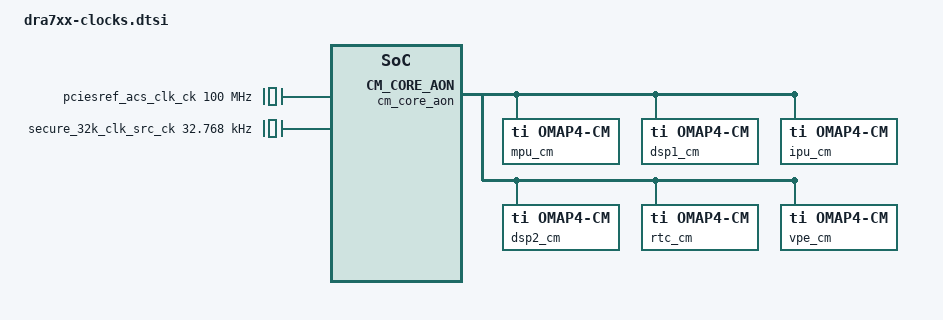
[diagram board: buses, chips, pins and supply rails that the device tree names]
// SPDX-License-Identifier: GPL-2.0-only
/*
 * Device Tree Source for DRA7xx clock data
 *
 * Copyright (C) 2013 Texas Instruments, Inc.
 */
&cm_core_aon_clocks {
	atl_clkin0_ck: clock-atl-clkin0 {
		#clock-cells = <0>;
		compatible = "ti,dra7-atl-clock";
		clock-output-names = "atl_clkin0_ck";
		clocks = <&atl_clkctrl DRA7_ATL_ATL_CLKCTRL 26>;
	};

	atl_clkin1_ck: clock-atl-clkin1 {
		#clock-cells = <0>;
		compatible = "ti,dra7-atl-clock";
		clock-output-names = "atl_clkin1_ck";
		clocks = <&atl_clkctrl DRA7_ATL_ATL_CLKCTRL 26>;
	};

	atl_clkin2_ck: clock-atl-clkin2 {
		#clock-cells = <0>;
		compatible = "ti,dra7-atl-clock";
		clock-output-names = "atl_clkin2_ck";
		clocks = <&atl_clkctrl DRA7_ATL_ATL_CLKCTRL 26>;
	};

	atl_clkin3_ck: clock-atl-clkin3 {
		#clock-cells = <0>;
		compatible = "ti,dra7-atl-clock";
		clock-output-names = "atl_clkin3_ck";
		clocks = <&atl_clkctrl DRA7_ATL_ATL_CLKCTRL 26>;
	};

	hdmi_clkin_ck: clock-hdmi-clkin {
		#clock-cells = <0>;
		compatible = "fixed-clock";
		clock-output-names = "hdmi_clkin_ck";
		clock-frequency = <0>;
	};

	mlb_clkin_ck: clock-mlb-clkin {
		#clock-cells = <0>;
		compatible = "fixed-clock";
		clock-output-names = "mlb_clkin_ck";
		clock-frequency = <0>;
	};

	mlbp_clkin_ck: clock-mlbp-clkin {
		#clock-cells = <0>;
		compatible = "fixed-clock";
		clock-output-names = "mlbp_clkin_ck";
		clock-frequency = <0>;
	};

	pciesref_acs_clk_ck: clock-pciesref-acs {
		#clock-cells = <0>;
		compatible = "fixed-clock";
		clock-output-names = "pciesref_acs_clk_ck";
		clock-frequency = <100000000>;
	};

	ref_clkin0_ck: clock-ref-clkin0 {
		#clock-cells = <0>;
		compatible = "fixed-clock";
		clock-output-names = "ref_clkin0_ck";
		clock-frequency = <0>;
	};

	ref_clkin1_ck: clock-ref-clkin1 {
		#clock-cells = <0>;
		compatible = "fixed-clock";
		clock-output-names = "ref_clkin1_ck";
		clock-frequency = <0>;
	};

	ref_clkin2_ck: clock-ref-clkin2 {
		#clock-cells = <0>;
		compatible = "fixed-clock";
		clock-output-names = "ref_clkin2_ck";
		clock-frequency = <0>;
	};

	ref_clkin3_ck: clock-ref-clkin3 {
		#clock-cells = <0>;
		compatible = "fixed-clock";
		clock-output-names = "ref_clkin3_ck";
		clock-frequency = <0>;
	};

	rmii_clk_ck: clock-rmii {
		#clock-cells = <0>;
		compatible = "fixed-clock";
		clock-output-names = "rmii_clk_ck";
		clock-frequency = <0>;
	};

	sdvenc_clkin_ck: clock-sdvenc-clkin {
		#clock-cells = <0>;
		compatible = "fixed-clock";
		clock-output-names = "sdvenc_clkin_ck";
		clock-frequency = <0>;
	};

	secure_32k_clk_src_ck: clock-secure-32k-clk-src {
		#clock-cells = <0>;
		compatible = "fixed-clock";
		clock-output-names = "secure_32k_clk_src_ck";
		clock-frequency = <32768>;
	};

	sys_clk32_crystal_ck: clock-sys-clk32-crystal {
		#clock-cells = <0>;
		compatible = "fixed-clock";
		clock-output-names = "sys_clk32_crystal_ck";
		clock-frequency = <32768>;
	};

	sys_clk32_pseudo_ck: clock-sys-clk32-pseudo {
		#clock-cells = <0>;
		compatible = "fixed-factor-clock";
		clock-output-names = "sys_clk32_pseudo_ck";
		clocks = <&sys_clkin1>;
		clock-mult = <1>;
		clock-div = <610>;
	};

	virt_12000000_ck: clock-virt-12000000 {
		#clock-cells = <0>;
		compatible = "fixed-clock";
		clock-output-names = "virt_12000000_ck";
		clock-frequency = <12000000>;
	};

	virt_13000000_ck: clock-virt-13000000 {
		#clock-cells = <0>;
		compatible = "fixed-clock";
		clock-output-names = "virt_13000000_ck";
		clock-frequency = <13000000>;
	};

	virt_16800000_ck: clock-virt-16800000 {
		#clock-cells = <0>;
		compatible = "fixed-clock";
		clock-output-names = "virt_16800000_ck";
		clock-frequency = <16800000>;
	};

	virt_19200000_ck: clock-virt-19200000 {
		#clock-cells = <0>;
		compatible = "fixed-clock";
		clock-output-names = "virt_19200000_ck";
		clock-frequency = <19200000>;
	};

	virt_20000000_ck: clock-virt-20000000 {
		#clock-cells = <0>;
		compatible = "fixed-clock";
		clock-output-names = "virt_20000000_ck";
		clock-frequency = <20000000>;
	};

	virt_26000000_ck: clock-virt-26000000 {
		#clock-cells = <0>;
		compatible = "fixed-clock";
		clock-output-names = "virt_26000000_ck";
		clock-frequency = <26000000>;
	};

	virt_27000000_ck: clock-virt-27000000 {
		#clock-cells = <0>;
		compatible = "fixed-clock";
		clock-output-names = "virt_27000000_ck";
		clock-frequency = <27000000>;
	};

	virt_38400000_ck: clock-virt-38400000 {
		#clock-cells = <0>;
		compatible = "fixed-clock";
		clock-output-names = "virt_38400000_ck";
		clock-frequency = <38400000>;
	};

	sys_clkin2: clock-sys-clkin2 {
		#clock-cells = <0>;
		compatible = "fixed-clock";
		clock-output-names = "sys_clkin2";
		clock-frequency = <22579200>;
	};

	usb_otg_clkin_ck: clock-usb-otg-clkin {
		#clock-cells = <0>;
		compatible = "fixed-clock";
		clock-output-names = "usb_otg_clkin_ck";
		clock-frequency = <0>;
	};

	video1_clkin_ck: clock-video1-clkin {
		#clock-cells = <0>;
		compatible = "fixed-clock";
		clock-output-names = "video1_clkin_ck";
		clock-frequency = <0>;
	};

	video1_m2_clkin_ck: clock-video1-m2-clkin {
		#clock-cells = <0>;
		compatible = "fixed-clock";
		clock-output-names = "video1_m2_clkin_ck";
		clock-frequency = <0>;
	};

	video2_clkin_ck: clock-video2-clkin {
		#clock-cells = <0>;
		compatible = "fixed-clock";
		clock-output-names = "video2_clkin_ck";
		clock-frequency = <0>;
	};

	video2_m2_clkin_ck: clock-video2-m2-clkin {
		#clock-cells = <0>;
		compatible = "fixed-clock";
		clock-output-names = "video2_m2_clkin_ck";
		clock-frequency = <0>;
	};

	dpll_abe_ck: clock@1e0 {
		#clock-cells = <0>;
		compatible = "ti,omap4-dpll-m4xen-clock";
		clock-output-names = "dpll_abe_ck";
		clocks = <&abe_dpll_clk_mux>, <&abe_dpll_bypass_clk_mux>;
		reg = <0x01e0>, <0x01e4>, <0x01ec>, <0x01e8>;
	};

	dpll_abe_x2_ck: clock-dpll-abe-x2 {
		#clock-cells = <0>;
		compatible = "ti,omap4-dpll-x2-clock";
		clock-output-names = "dpll_abe_x2_ck";
		clocks = <&dpll_abe_ck>;
	};

	dpll_abe_m2x2_ck: clock-dpll-abe-m2x2-8@1f0 {
		#clock-cells = <0>;
		compatible = "ti,divider-clock";
		clock-output-names = "dpll_abe_m2x2_ck";
		clocks = <&dpll_abe_x2_ck>;
		ti,max-div = <31>;
		ti,autoidle-shift = <8>;
		reg = <0x01f0>;
		ti,index-starts-at-one;
		ti,invert-autoidle-bit;
	};

	abe_clk: clock-abe@108 {
		#clock-cells = <0>;
		compatible = "ti,divider-clock";
		clock-output-names = "abe_clk";
		clocks = <&dpll_abe_m2x2_ck>;
		ti,max-div = <4>;
		reg = <0x0108>;
		ti,index-power-of-two;
	};

	dpll_abe_m2_ck: clock-dpll-abe-m2-8@1f0 {
		#clock-cells = <0>;
		compatible = "ti,divider-clock";
		clock-output-names = "dpll_abe_m2_ck";
		clocks = <&dpll_abe_ck>;
		ti,max-div = <31>;
		ti,autoidle-shift = <8>;
		reg = <0x01f0>;
		ti,index-starts-at-one;
		ti,invert-autoidle-bit;
	};

	dpll_abe_m3x2_ck: clock-dpll-abe-m3x2-8@1f4 {
		#clock-cells = <0>;
		compatible = "ti,divider-clock";
		clock-output-names = "dpll_abe_m3x2_ck";
		clocks = <&dpll_abe_x2_ck>;
		ti,max-div = <31>;
		ti,autoidle-shift = <8>;
		reg = <0x01f4>;
		ti,index-starts-at-one;
		ti,invert-autoidle-bit;
	};

	dpll_core_byp_mux: clock-dpll-core-byp-mux-23@12c {
		#clock-cells = <0>;
		compatible = "ti,mux-clock";
		clock-output-names = "dpll_core_byp_mux";
		clocks = <&sys_clkin1>, <&dpll_abe_m3x2_ck>;
		ti,bit-shift = <23>;
		reg = <0x012c>;
	};

	dpll_core_ck: clock@120 {
		#clock-cells = <0>;
		compatible = "ti,omap4-dpll-core-clock";
		clock-output-names = "dpll_core_ck";
		clocks = <&sys_clkin1>, <&dpll_core_byp_mux>;
		reg = <0x0120>, <0x0124>, <0x012c>, <0x0128>;
	};

	dpll_core_x2_ck: clock-dpll-core-x2 {
		#clock-cells = <0>;
		compatible = "ti,omap4-dpll-x2-clock";
		clock-output-names = "dpll_core_x2_ck";
		clocks = <&dpll_core_ck>;
	};

	dpll_core_h12x2_ck: clock-dpll-core-h12x2-8@13c {
		#clock-cells = <0>;
		compatible = "ti,divider-clock";
		clock-output-names = "dpll_core_h12x2_ck";
		clocks = <&dpll_core_x2_ck>;
		ti,max-div = <63>;
		ti,autoidle-shift = <8>;
		reg = <0x013c>;
		ti,index-starts-at-one;
		ti,invert-autoidle-bit;
	};

	mpu_dpll_hs_clk_div: clock-mpu-dpll-hs-clk-div {
		#clock-cells = <0>;
		compatible = "fixed-factor-clock";
		clock-output-names = "mpu_dpll_hs_clk_div";
		clocks = <&dpll_core_h12x2_ck>;
		clock-mult = <1>;
		clock-div = <1>;
	};

	dpll_mpu_ck: clock@160 {
		#clock-cells = <0>;
		compatible = "ti,omap5-mpu-dpll-clock";
		clock-output-names = "dpll_mpu_ck";
		clocks = <&sys_clkin1>, <&mpu_dpll_hs_clk_div>;
		reg = <0x0160>, <0x0164>, <0x016c>, <0x0168>;
	};

	dpll_mpu_m2_ck: clock-dpll-mpu-m2-8@170 {
		#clock-cells = <0>;
		compatible = "ti,divider-clock";
		clock-output-names = "dpll_mpu_m2_ck";
		clocks = <&dpll_mpu_ck>;
		ti,max-div = <31>;
		ti,autoidle-shift = <8>;
		reg = <0x0170>;
		ti,index-starts-at-one;
		ti,invert-autoidle-bit;
	};

	mpu_dclk_div: clock-mpu-dclk-div {
		#clock-cells = <0>;
		compatible = "fixed-factor-clock";
		clock-output-names = "mpu_dclk_div";
		clocks = <&dpll_mpu_m2_ck>;
		clock-mult = <1>;
		clock-div = <1>;
	};

	dsp_dpll_hs_clk_div: clock-dsp-dpll-hs-clk-div {
		#clock-cells = <0>;
		compatible = "fixed-factor-clock";
		clock-output-names = "dsp_dpll_hs_clk_div";
		clocks = <&dpll_core_h12x2_ck>;
		clock-mult = <1>;
		clock-div = <1>;
	};

	dpll_dsp_byp_mux: clock-dpll-dsp-byp-mux-23@240 {
		#clock-cells = <0>;
		compatible = "ti,mux-clock";
		clock-output-names = "dpll_dsp_byp_mux";
		clocks = <&sys_clkin1>, <&dsp_dpll_hs_clk_div>;
		ti,bit-shift = <23>;
		reg = <0x0240>;
	};

	dpll_dsp_ck: clock@234 {
		#clock-cells = <0>;
		compatible = "ti,omap4-dpll-clock";
		clock-output-names = "dpll_dsp_ck";
		clocks = <&sys_clkin1>, <&dpll_dsp_byp_mux>;
		reg = <0x0234>, <0x0238>, <0x0240>, <0x023c>;
		assigned-clocks = <&dpll_dsp_ck>;
		assigned-clock-rates = <600000000>;
	};

	dpll_dsp_m2_ck: clock-dpll-dsp-m2-8@244 {
		#clock-cells = <0>;
		compatible = "ti,divider-clock";
		clock-output-names = "dpll_dsp_m2_ck";
		clocks = <&dpll_dsp_ck>;
		ti,max-div = <31>;
		ti,autoidle-shift = <8>;
		reg = <0x0244>;
		ti,index-starts-at-one;
		ti,invert-autoidle-bit;
		assigned-clocks = <&dpll_dsp_m2_ck>;
		assigned-clock-rates = <600000000>;
	};

	iva_dpll_hs_clk_div: clock-iva-dpll-hs-clk-div {
		#clock-cells = <0>;
		compatible = "fixed-factor-clock";
		clock-output-names = "iva_dpll_hs_clk_div";
		clocks = <&dpll_core_h12x2_ck>;
		clock-mult = <1>;
		clock-div = <1>;
	};

	dpll_iva_byp_mux: clock-dpll-iva-byp-mux-23@1ac {
		#clock-cells = <0>;
		compatible = "ti,mux-clock";
		clock-output-names = "dpll_iva_byp_mux";
		clocks = <&sys_clkin1>, <&iva_dpll_hs_clk_div>;
		ti,bit-shift = <23>;
		reg = <0x01ac>;
	};

	dpll_iva_ck: clock@1a0 {
		#clock-cells = <0>;
		compatible = "ti,omap4-dpll-clock";
		clock-output-names = "dpll_iva_ck";
		clocks = <&sys_clkin1>, <&dpll_iva_byp_mux>;
		reg = <0x01a0>, <0x01a4>, <0x01ac>, <0x01a8>;
		assigned-clocks = <&dpll_iva_ck>;
		assigned-clock-rates = <1165000000>;
	};

	dpll_iva_m2_ck: clock-dpll-iva-m2-8@1b0 {
		#clock-cells = <0>;
		compatible = "ti,divider-clock";
		clock-output-names = "dpll_iva_m2_ck";
		clocks = <&dpll_iva_ck>;
		ti,max-div = <31>;
		ti,autoidle-shift = <8>;
		reg = <0x01b0>;
		ti,index-starts-at-one;
		ti,invert-autoidle-bit;
		assigned-clocks = <&dpll_iva_m2_ck>;
		assigned-clock-rates = <388333334>;
	};

	iva_dclk: clock-iva-dclk {
		#clock-cells = <0>;
		compatible = "fixed-factor-clock";
		clock-output-names = "iva_dclk";
		clocks = <&dpll_iva_m2_ck>;
		clock-mult = <1>;
		clock-div = <1>;
	};

	dpll_gpu_byp_mux: clock-dpll-gpu-byp-mux-23@2e4 {
		#clock-cells = <0>;
		compatible = "ti,mux-clock";
		clock-output-names = "dpll_gpu_byp_mux";
		clocks = <&sys_clkin1>, <&dpll_abe_m3x2_ck>;
		ti,bit-shift = <23>;
		reg = <0x02e4>;
	};

	dpll_gpu_ck: clock@2d8 {
		#clock-cells = <0>;
		compatible = "ti,omap4-dpll-clock";
		clock-output-names = "dpll_gpu_ck";
		clocks = <&sys_clkin1>, <&dpll_gpu_byp_mux>;
		reg = <0x02d8>, <0x02dc>, <0x02e4>, <0x02e0>;
		assigned-clocks = <&dpll_gpu_ck>;
		assigned-clock-rates = <1277000000>;
	};

	dpll_gpu_m2_ck: clock-dpll-gpu-m2-8@2e8 {
		#clock-cells = <0>;
		compatible = "ti,divider-clock";
		clock-output-names = "dpll_gpu_m2_ck";
		clocks = <&dpll_gpu_ck>;
		ti,max-div = <31>;
		ti,autoidle-shift = <8>;
		reg = <0x02e8>;
		ti,index-starts-at-one;
		ti,invert-autoidle-bit;
		assigned-clocks = <&dpll_gpu_m2_ck>;
		assigned-clock-rates = <425666667>;
	};

	dpll_core_m2_ck: clock-dpll-core-m2-8@130 {
		#clock-cells = <0>;
		compatible = "ti,divider-clock";
		clock-output-names = "dpll_core_m2_ck";
		clocks = <&dpll_core_ck>;
		ti,max-div = <31>;
		ti,autoidle-shift = <8>;
		reg = <0x0130>;
		ti,index-starts-at-one;
		ti,invert-autoidle-bit;
	};

	core_dpll_out_dclk_div: clock-core-dpll-out-dclk-div {
		#clock-cells = <0>;
		compatible = "fixed-factor-clock";
		clock-output-names = "core_dpll_out_dclk_div";
		clocks = <&dpll_core_m2_ck>;
		clock-mult = <1>;
		clock-div = <1>;
	};

	dpll_ddr_byp_mux: clock-dpll-ddr-byp-mux-23@21c {
		#clock-cells = <0>;
		compatible = "ti,mux-clock";
		clock-output-names = "dpll_ddr_byp_mux";
		clocks = <&sys_clkin1>, <&dpll_abe_m3x2_ck>;
		ti,bit-shift = <23>;
		reg = <0x021c>;
	};

	dpll_ddr_ck: clock@210 {
		#clock-cells = <0>;
		compatible = "ti,omap4-dpll-clock";
		clock-output-names = "dpll_ddr_ck";
		clocks = <&sys_clkin1>, <&dpll_ddr_byp_mux>;
		reg = <0x0210>, <0x0214>, <0x021c>, <0x0218>;
	};

	dpll_ddr_m2_ck: clock-dpll-ddr-m2-8@220 {
		#clock-cells = <0>;
		compatible = "ti,divider-clock";
		clock-output-names = "dpll_ddr_m2_ck";
		clocks = <&dpll_ddr_ck>;
		ti,max-div = <31>;
		ti,autoidle-shift = <8>;
		reg = <0x0220>;
		ti,index-starts-at-one;
		ti,invert-autoidle-bit;
	};

	dpll_gmac_byp_mux: clock-dpll-gmac-byp-mux-23@2b4 {
		#clock-cells = <0>;
		compatible = "ti,mux-clock";
		clock-output-names = "dpll_gmac_byp_mux";
		clocks = <&sys_clkin1>, <&dpll_abe_m3x2_ck>;
		ti,bit-shift = <23>;
		reg = <0x02b4>;
	};

	dpll_gmac_ck: clock@2a8 {
		#clock-cells = <0>;
		compatible = "ti,omap4-dpll-clock";
		clock-output-names = "dpll_gmac_ck";
		clocks = <&sys_clkin1>, <&dpll_gmac_byp_mux>;
		reg = <0x02a8>, <0x02ac>, <0x02b4>, <0x02b0>;
	};

	dpll_gmac_m2_ck: clock-dpll-gmac-m2-8@2b8 {
		#clock-cells = <0>;
		compatible = "ti,divider-clock";
		clock-output-names = "dpll_gmac_m2_ck";
		clocks = <&dpll_gmac_ck>;
		ti,max-div = <31>;
		ti,autoidle-shift = <8>;
		reg = <0x02b8>;
		ti,index-starts-at-one;
		ti,invert-autoidle-bit;
	};

	video2_dclk_div: clock-video2-dclk-div {
		#clock-cells = <0>;
		compatible = "fixed-factor-clock";
		clock-output-names = "video2_dclk_div";
		clocks = <&video2_m2_clkin_ck>;
		clock-mult = <1>;
		clock-div = <1>;
	};

	video1_dclk_div: clock-video1-dclk-div {
		#clock-cells = <0>;
		compatible = "fixed-factor-clock";
		clock-output-names = "video1_dclk_div";
		clocks = <&video1_m2_clkin_ck>;
		clock-mult = <1>;
		clock-div = <1>;
	};

	hdmi_dclk_div: clock-hdmi-dclk-div {
		#clock-cells = <0>;
		compatible = "fixed-factor-clock";
		clock-output-names = "hdmi_dclk_div";
		clocks = <&hdmi_clkin_ck>;
		clock-mult = <1>;
		clock-div = <1>;
	};

	per_dpll_hs_clk_div: clock-per-dpll-hs-clk-div {
		#clock-cells = <0>;
		compatible = "fixed-factor-clock";
		clock-output-names = "per_dpll_hs_clk_div";
		clocks = <&dpll_abe_m3x2_ck>;
		clock-mult = <1>;
		clock-div = <2>;
	};

	usb_dpll_hs_clk_div: clock-usb-dpll-hs-clk-div {
		#clock-cells = <0>;
		compatible = "fixed-factor-clock";
		clock-output-names = "usb_dpll_hs_clk_div";
		clocks = <&dpll_abe_m3x2_ck>;
		clock-mult = <1>;
		clock-div = <3>;
	};

	eve_dpll_hs_clk_div: clock-eve-dpll-hs-clk-div {
		#clock-cells = <0>;
		compatible = "fixed-factor-clock";
		clock-output-names = "eve_dpll_hs_clk_div";
		clocks = <&dpll_core_h12x2_ck>;
		clock-mult = <1>;
		clock-div = <1>;
	};

	dpll_eve_byp_mux: clock-dpll-eve-byp-mux-23@290 {
		#clock-cells = <0>;
		compatible = "ti,mux-clock";
		clock-output-names = "dpll_eve_byp_mux";
		clocks = <&sys_clkin1>, <&eve_dpll_hs_clk_div>;
		ti,bit-shift = <23>;
		reg = <0x0290>;
	};

	dpll_eve_ck: clock@284 {
		#clock-cells = <0>;
		compatible = "ti,omap4-dpll-clock";
		clock-output-names = "dpll_eve_ck";
		clocks = <&sys_clkin1>, <&dpll_eve_byp_mux>;
		reg = <0x0284>, <0x0288>, <0x0290>, <0x028c>;
	};

	dpll_eve_m2_ck: clock-dpll-eve-m2-8@294 {
		#clock-cells = <0>;
		compatible = "ti,divider-clock";
		clock-output-names = "dpll_eve_m2_ck";
		clocks = <&dpll_eve_ck>;
		ti,max-div = <31>;
		ti,autoidle-shift = <8>;
		reg = <0x0294>;
		ti,index-starts-at-one;
		ti,invert-autoidle-bit;
	};

	eve_dclk_div: clock-eve-dclk-div {
		#clock-cells = <0>;
		compatible = "fixed-factor-clock";
		clock-output-names = "eve_dclk_div";
		clocks = <&dpll_eve_m2_ck>;
		clock-mult = <1>;
		clock-div = <1>;
	};

	dpll_core_h13x2_ck: clock-dpll-core-h13x2-8@140 {
		#clock-cells = <0>;
		compatible = "ti,divider-clock";
		clock-output-names = "dpll_core_h13x2_ck";
		clocks = <&dpll_core_x2_ck>;
		ti,max-div = <63>;
		ti,autoidle-shift = <8>;
		reg = <0x0140>;
		ti,index-starts-at-one;
		ti,invert-autoidle-bit;
	};

	dpll_core_h14x2_ck: clock-dpll-core-h14x2-8@144 {
		#clock-cells = <0>;
		compatible = "ti,divider-clock";
		clock-output-names = "dpll_core_h14x2_ck";
		clocks = <&dpll_core_x2_ck>;
		ti,max-div = <63>;
		ti,autoidle-shift = <8>;
		reg = <0x0144>;
		ti,index-starts-at-one;
		ti,invert-autoidle-bit;
	};

	dpll_core_h22x2_ck: clock-dpll-core-h22x2-8@154 {
		#clock-cells = <0>;
		compatible = "ti,divider-clock";
		clock-output-names = "dpll_core_h22x2_ck";
		clocks = <&dpll_core_x2_ck>;
		ti,max-div = <63>;
		ti,autoidle-shift = <8>;
		reg = <0x0154>;
		ti,index-starts-at-one;
		ti,invert-autoidle-bit;
	};

	dpll_core_h23x2_ck: clock-dpll-core-h23x2-8@158 {
		#clock-cells = <0>;
		compatible = "ti,divider-clock";
		clock-output-names = "dpll_core_h23x2_ck";
		clocks = <&dpll_core_x2_ck>;
		ti,max-div = <63>;
		ti,autoidle-shift = <8>;
		reg = <0x0158>;
		ti,index-starts-at-one;
		ti,invert-autoidle-bit;
	};

	dpll_core_h24x2_ck: clock-dpll-core-h24x2-8@15c {
		#clock-cells = <0>;
		compatible = "ti,divider-clock";
		clock-output-names = "dpll_core_h24x2_ck";
		clocks = <&dpll_core_x2_ck>;
		ti,max-div = <63>;
		ti,autoidle-shift = <8>;
		reg = <0x015c>;
		ti,index-starts-at-one;
		ti,invert-autoidle-bit;
	};

	dpll_ddr_x2_ck: clock-dpll-ddr-x2 {
		#clock-cells = <0>;
		compatible = "ti,omap4-dpll-x2-clock";
		clock-output-names = "dpll_ddr_x2_ck";
		clocks = <&dpll_ddr_ck>;
	};

	dpll_ddr_h11x2_ck: clock-dpll-ddr-h11x2-8@228 {
		#clock-cells = <0>;
		compatible = "ti,divider-clock";
		clock-output-names = "dpll_ddr_h11x2_ck";
		clocks = <&dpll_ddr_x2_ck>;
		ti,max-div = <63>;
		ti,autoidle-shift = <8>;
		reg = <0x0228>;
		ti,index-starts-at-one;
		ti,invert-autoidle-bit;
	};

	dpll_dsp_x2_ck: clock-dpll-dsp-x2 {
		#clock-cells = <0>;
		compatible = "ti,omap4-dpll-x2-clock";
		clock-output-names = "dpll_dsp_x2_ck";
		clocks = <&dpll_dsp_ck>;
	};

	dpll_dsp_m3x2_ck: clock-dpll-dsp-m3x2-8@248 {
		#clock-cells = <0>;
		compatible = "ti,divider-clock";
		clock-output-names = "dpll_dsp_m3x2_ck";
		clocks = <&dpll_dsp_x2_ck>;
		ti,max-div = <31>;
		ti,autoidle-shift = <8>;
		reg = <0x0248>;
		ti,index-starts-at-one;
		ti,invert-autoidle-bit;
		assigned-clocks = <&dpll_dsp_m3x2_ck>;
		assigned-clock-rates = <400000000>;
	};

	dpll_gmac_x2_ck: clock-dpll-gmac-x2 {
		#clock-cells = <0>;
		compatible = "ti,omap4-dpll-x2-clock";
		clock-output-names = "dpll_gmac_x2_ck";
		clocks = <&dpll_gmac_ck>;
	};

	dpll_gmac_h11x2_ck: clock-dpll-gmac-h11x2-8@2c0 {
		#clock-cells = <0>;
		compatible = "ti,divider-clock";
		clock-output-names = "dpll_gmac_h11x2_ck";
		clocks = <&dpll_gmac_x2_ck>;
		ti,max-div = <63>;
		ti,autoidle-shift = <8>;
		reg = <0x02c0>;
		ti,index-starts-at-one;
		ti,invert-autoidle-bit;
	};

	dpll_gmac_h12x2_ck: clock-dpll-gmac-h12x2-8@2c4 {
		#clock-cells = <0>;
		compatible = "ti,divider-clock";
		clock-output-names = "dpll_gmac_h12x2_ck";
		clocks = <&dpll_gmac_x2_ck>;
		ti,max-div = <63>;
		ti,autoidle-shift = <8>;
		reg = <0x02c4>;
		ti,index-starts-at-one;
		ti,invert-autoidle-bit;
	};

	dpll_gmac_h13x2_ck: clock-dpll-gmac-h13x2-8@2c8 {
		#clock-cells = <0>;
		compatible = "ti,divider-clock";
		clock-output-names = "dpll_gmac_h13x2_ck";
		clocks = <&dpll_gmac_x2_ck>;
		ti,max-div = <63>;
		ti,autoidle-shift = <8>;
		reg = <0x02c8>;
		ti,index-starts-at-one;
		ti,invert-autoidle-bit;
	};

	dpll_gmac_m3x2_ck: clock-dpll-gmac-m3x2-8@2bc {
		#clock-cells = <0>;
		compatible = "ti,divider-clock";
		clock-output-names = "dpll_gmac_m3x2_ck";
		clocks = <&dpll_gmac_x2_ck>;
		ti,max-div = <31>;
		ti,autoidle-shift = <8>;
		reg = <0x02bc>;
		ti,index-starts-at-one;
		ti,invert-autoidle-bit;
	};

	gmii_m_clk_div: clock-gmii-m-clk-div {
		#clock-cells = <0>;
		compatible = "fixed-factor-clock";
		clock-output-names = "gmii_m_clk_div";
		clocks = <&dpll_gmac_h11x2_ck>;
		clock-mult = <1>;
		clock-div = <2>;
	};

	hdmi_clk2_div: clock-hdmi-clk2-div {
		#clock-cells = <0>;
		compatible = "fixed-factor-clock";
		clock-output-names = "hdmi_clk2_div";
		clocks = <&hdmi_clkin_ck>;
		clock-mult = <1>;
		clock-div = <1>;
	};

	hdmi_div_clk: clock-hdmi-div {
		#clock-cells = <0>;
		compatible = "fixed-factor-clock";
		clock-output-names = "hdmi_div_clk";
		clocks = <&hdmi_clkin_ck>;
		clock-mult = <1>;
		clock-div = <1>;
	};

	l3_iclk_div: clock-l3-iclk-div-4@100 {
		#clock-cells = <0>;
		compatible = "ti,divider-clock";
		clock-output-names = "l3_iclk_div";
		ti,max-div = <2>;
		ti,bit-shift = <4>;
		reg = <0x0100>;
		clocks = <&dpll_core_h12x2_ck>;
		ti,index-power-of-two;
	};

	l4_root_clk_div: clock-l4-root-clk-div {
		#clock-cells = <0>;
		compatible = "fixed-factor-clock";
		clock-output-names = "l4_root_clk_div";
		clocks = <&l3_iclk_div>;
		clock-mult = <1>;
		clock-div = <2>;
	};

	video1_clk2_div: clock-video1-clk2-div {
		#clock-cells = <0>;
		compatible = "fixed-factor-clock";
		clock-output-names = "video1_clk2_div";
		clocks = <&video1_clkin_ck>;
		clock-mult = <1>;
		clock-div = <1>;
	};

	video1_div_clk: clock-video1-div {
		#clock-cells = <0>;
		compatible = "fixed-factor-clock";
		clock-output-names = "video1_div_clk";
		clocks = <&video1_clkin_ck>;
		clock-mult = <1>;
		clock-div = <1>;
	};

	video2_clk2_div: clock-video2-clk2-div {
		#clock-cells = <0>;
		compatible = "fixed-factor-clock";
		clock-output-names = "video2_clk2_div";
		clocks = <&video2_clkin_ck>;
		clock-mult = <1>;
		clock-div = <1>;
	};

	video2_div_clk: clock-video2-div {
		#clock-cells = <0>;
		compatible = "fixed-factor-clock";
		clock-output-names = "video2_div_clk";
		clocks = <&video2_clkin_ck>;
		clock-mult = <1>;
		clock-div = <1>;
	};

	dummy_ck: clock-dummy {
		#clock-cells = <0>;
		compatible = "fixed-clock";
		clock-output-names = "dummy_ck";
		clock-frequency = <0>;
	};
};
&prm_clocks {
	sys_clkin1: clock-sys-clkin1@110 {
		#clock-cells = <0>;
		compatible = "ti,mux-clock";
		clock-output-names = "sys_clkin1";
		clocks = <&virt_12000000_ck>, <&virt_20000000_ck>, <&virt_16800000_ck>, <&virt_19200000_ck>, <&virt_26000000_ck>, <&virt_27000000_ck>, <&virt_38400000_ck>;
		reg = <0x0110>;
		ti,index-starts-at-one;
	};

	abe_dpll_sys_clk_mux: clock-abe-dpll-sys-clk-mux@118 {
		#clock-cells = <0>;
		compatible = "ti,mux-clock";
		clock-output-names = "abe_dpll_sys_clk_mux";
		clocks = <&sys_clkin1>, <&sys_clkin2>;
		reg = <0x0118>;
	};

	abe_dpll_bypass_clk_mux: clock-abe-dpll-bypass-clk-mux@114 {
		#clock-cells = <0>;
		compatible = "ti,mux-clock";
		clock-output-names = "abe_dpll_bypass_clk_mux";
		clocks = <&abe_dpll_sys_clk_mux>, <&sys_32k_ck>;
		reg = <0x0114>;
	};

	abe_dpll_clk_mux: clock-abe-dpll-clk-mux@10c {
		#clock-cells = <0>;
		compatible = "ti,mux-clock";
		clock-output-names = "abe_dpll_clk_mux";
		clocks = <&abe_dpll_sys_clk_mux>, <&sys_32k_ck>;
		reg = <0x010c>;
	};

	abe_24m_fclk: clock-abe-24m@11c {
		#clock-cells = <0>;
		compatible = "ti,divider-clock";
		clock-output-names = "abe_24m_fclk";
		clocks = <&dpll_abe_m2x2_ck>;
		reg = <0x011c>;
		ti,dividers = <8>, <16>;
	};

	aess_fclk: clock-aess@178 {
		#clock-cells = <0>;
		compatible = "ti,divider-clock";
		clock-output-names = "aess_fclk";
		clocks = <&abe_clk>;
		reg = <0x0178>;
		ti,max-div = <2>;
	};

	abe_giclk_div: clock-abe-giclk-div@174 {
		#clock-cells = <0>;
		compatible = "ti,divider-clock";
		clock-output-names = "abe_giclk_div";
		clocks = <&aess_fclk>;
		reg = <0x0174>;
		ti,max-div = <2>;
	};

	abe_lp_clk_div: clock-abe-lp-clk-div@1d8 {
		#clock-cells = <0>;
		compatible = "ti,divider-clock";
		clock-output-names = "abe_lp_clk_div";
		clocks = <&dpll_abe_m2x2_ck>;
		reg = <0x01d8>;
		ti,dividers = <16>, <32>;
	};

	abe_sys_clk_div: clock-abe-sys-clk-div@120 {
		#clock-cells = <0>;
		compatible = "ti,divider-clock";
		clock-output-names = "abe_sys_clk_div";
		clocks = <&sys_clkin1>;
		reg = <0x0120>;
		ti,max-div = <2>;
	};

	adc_gfclk_mux: clock-adc-gfclk-mux@1dc {
		#clock-cells = <0>;
		compatible = "ti,mux-clock";
		clock-output-names = "adc_gfclk_mux";
		clocks = <&sys_clkin1>, <&sys_clkin2>, <&sys_32k_ck>;
		reg = <0x01dc>;
	};

	sys_clk1_dclk_div: clock-sys-clk1-dclk-div@1c8 {
		#clock-cells = <0>;
		compatible = "ti,divider-clock";
		clock-output-names = "sys_clk1_dclk_div";
		clocks = <&sys_clkin1>;
		ti,max-div = <64>;
		reg = <0x01c8>;
		ti,index-power-of-two;
	};

	sys_clk2_dclk_div: clock-sys-clk2-dclk-div@1cc {
		#clock-cells = <0>;
		compatible = "ti,divider-clock";
		clock-output-names = "sys_clk2_dclk_div";
		clocks = <&sys_clkin2>;
		ti,max-div = <64>;
		reg = <0x01cc>;
		ti,index-power-of-two;
	};

	per_abe_x1_dclk_div: clock-per-abe-x1-dclk-div@1bc {
		#clock-cells = <0>;
		compatible = "ti,divider-clock";
		clock-output-names = "per_abe_x1_dclk_div";
		clocks = <&dpll_abe_m2_ck>;
		ti,max-div = <64>;
		reg = <0x01bc>;
		ti,index-power-of-two;
	};

	dsp_gclk_div: clock-dsp-gclk-div@18c {
		#clock-cells = <0>;
		compatible = "ti,divider-clock";
		clock-output-names = "dsp_gclk_div";
		clocks = <&dpll_dsp_m2_ck>;
		ti,max-div = <64>;
		reg = <0x018c>;
		ti,index-power-of-two;
	};

	gpu_dclk: clock-gpu-dclk@1a0 {
		#clock-cells = <0>;
		compatible = "ti,divider-clock";
		clock-output-names = "gpu_dclk";
		clocks = <&dpll_gpu_m2_ck>;
		ti,max-div = <64>;
		reg = <0x01a0>;
		ti,index-power-of-two;
	};

	emif_phy_dclk_div: clock-emif-phy-dclk-div@190 {
		#clock-cells = <0>;
		compatible = "ti,divider-clock";
		clock-output-names = "emif_phy_dclk_div";
		clocks = <&dpll_ddr_m2_ck>;
		ti,max-div = <64>;
		reg = <0x0190>;
		ti,index-power-of-two;
	};

	gmac_250m_dclk_div: clock-gmac-250m-dclk-div@19c {
		#clock-cells = <0>;
		compatible = "ti,divider-clock";
		clock-output-names = "gmac_250m_dclk_div";
		clocks = <&dpll_gmac_m2_ck>;
		ti,max-div = <64>;
		reg = <0x019c>;
		ti,index-power-of-two;
	};

	gmac_main_clk: clock-gmac-main {
		#clock-cells = <0>;
		compatible = "fixed-factor-clock";
		clock-output-names = "gmac_main_clk";
		clocks = <&gmac_250m_dclk_div>;
		clock-mult = <1>;
		clock-div = <2>;
	};

	l3init_480m_dclk_div: clock-l3init-480m-dclk-div@1ac {
		#clock-cells = <0>;
		compatible = "ti,divider-clock";
		clock-output-names = "l3init_480m_dclk_div";
		clocks = <&dpll_usb_m2_ck>;
		ti,max-div = <64>;
		reg = <0x01ac>;
		ti,index-power-of-two;
	};

	usb_otg_dclk_div: clock-usb-otg-dclk-div@184 {
		#clock-cells = <0>;
		compatible = "ti,divider-clock";
		clock-output-names = "usb_otg_dclk_div";
		clocks = <&usb_otg_clkin_ck>;
		ti,max-div = <64>;
		reg = <0x0184>;
		ti,index-power-of-two;
	};

	sata_dclk_div: clock-sata-dclk-div@1c0 {
		#clock-cells = <0>;
		compatible = "ti,divider-clock";
		clock-output-names = "sata_dclk_div";
		clocks = <&sys_clkin1>;
		ti,max-div = <64>;
		reg = <0x01c0>;
		ti,index-power-of-two;
	};

	pcie2_dclk_div: clock-pcie2-dclk-div@1b8 {
		#clock-cells = <0>;
		compatible = "ti,divider-clock";
		clock-output-names = "pcie2_dclk_div";
		clocks = <&dpll_pcie_ref_m2_ck>;
		ti,max-div = <64>;
		reg = <0x01b8>;
		ti,index-power-of-two;
	};

	pcie_dclk_div: clock-pcie-dclk-div@1b4 {
		#clock-cells = <0>;
		compatible = "ti,divider-clock";
		clock-output-names = "pcie_dclk_div";
		clocks = <&apll_pcie_m2_ck>;
		ti,max-div = <64>;
		reg = <0x01b4>;
		ti,index-power-of-two;
	};

	emu_dclk_div: clock-emu-dclk-div@194 {
		#clock-cells = <0>;
		compatible = "ti,divider-clock";
		clock-output-names = "emu_dclk_div";
		clocks = <&sys_clkin1>;
		ti,max-div = <64>;
		reg = <0x0194>;
		ti,index-power-of-two;
	};

	secure_32k_dclk_div: clock-secure-32k-dclk-div@1c4 {
		#clock-cells = <0>;
		compatible = "ti,divider-clock";
		clock-output-names = "secure_32k_dclk_div";
		clocks = <&secure_32k_clk_src_ck>;
		ti,max-div = <64>;
		reg = <0x01c4>;
		ti,index-power-of-two;
	};

	clkoutmux0_clk_mux: clock-clkoutmux0-clk-mux@158 {
		#clock-cells = <0>;
		compatible = "ti,mux-clock";
		clock-output-names = "clkoutmux0_clk_mux";
		clocks = <&sys_clk1_dclk_div>, <&sys_clk2_dclk_div>, <&per_abe_x1_dclk_div>, <&mpu_dclk_div>, <&dsp_gclk_div>, <&iva_dclk>, <&gpu_dclk>, <&core_dpll_out_dclk_div>, <&emif_phy_dclk_div>, <&gmac_250m_dclk_div>, <&video2_dclk_div>, <&video1_dclk_div>, <&hdmi_dclk_div>, <&func_96m_aon_dclk_div>, <&l3init_480m_dclk_div>, <&usb_otg_dclk_div>, <&sata_dclk_div>, <&pcie2_dclk_div>, <&pcie_dclk_div>, <&emu_dclk_div>, <&secure_32k_dclk_div>, <&eve_dclk_div>;
		reg = <0x0158>;
	};

	clkoutmux1_clk_mux: clock-clkoutmux1-clk-mux@15c {
		#clock-cells = <0>;
		compatible = "ti,mux-clock";
		clock-output-names = "clkoutmux1_clk_mux";
		clocks = <&sys_clk1_dclk_div>, <&sys_clk2_dclk_div>, <&per_abe_x1_dclk_div>, <&mpu_dclk_div>, <&dsp_gclk_div>, <&iva_dclk>, <&gpu_dclk>, <&core_dpll_out_dclk_div>, <&emif_phy_dclk_div>, <&gmac_250m_dclk_div>, <&video2_dclk_div>, <&video1_dclk_div>, <&hdmi_dclk_div>, <&func_96m_aon_dclk_div>, <&l3init_480m_dclk_div>, <&usb_otg_dclk_div>, <&sata_dclk_div>, <&pcie2_dclk_div>, <&pcie_dclk_div>, <&emu_dclk_div>, <&secure_32k_dclk_div>, <&eve_dclk_div>;
		reg = <0x015c>;
	};

	clkoutmux2_clk_mux: clock-clkoutmux2-clk-mux@160 {
		#clock-cells = <0>;
		compatible = "ti,mux-clock";
		clock-output-names = "clkoutmux2_clk_mux";
		clocks = <&sys_clk1_dclk_div>, <&sys_clk2_dclk_div>, <&per_abe_x1_dclk_div>, <&mpu_dclk_div>, <&dsp_gclk_div>, <&iva_dclk>, <&gpu_dclk>, <&core_dpll_out_dclk_div>, <&emif_phy_dclk_div>, <&gmac_250m_dclk_div>, <&video2_dclk_div>, <&video1_dclk_div>, <&hdmi_dclk_div>, <&func_96m_aon_dclk_div>, <&l3init_480m_dclk_div>, <&usb_otg_dclk_div>, <&sata_dclk_div>, <&pcie2_dclk_div>, <&pcie_dclk_div>, <&emu_dclk_div>, <&secure_32k_dclk_div>, <&eve_dclk_div>;
		reg = <0x0160>;
	};

	custefuse_sys_gfclk_div: clock-custefuse-sys-gfclk-div {
		#clock-cells = <0>;
		compatible = "fixed-factor-clock";
		clock-output-names = "custefuse_sys_gfclk_div";
		clocks = <&sys_clkin1>;
		clock-mult = <1>;
		clock-div = <2>;
	};

	eve_clk: clock-eve@180 {
		#clock-cells = <0>;
		compatible = "ti,mux-clock";
		clock-output-names = "eve_clk";
		clocks = <&dpll_eve_m2_ck>, <&dpll_dsp_m3x2_ck>;
		reg = <0x0180>;
	};

	hdmi_dpll_clk_mux: clock-hdmi-dpll-clk-mux@164 {
		#clock-cells = <0>;
		compatible = "ti,mux-clock";
		clock-output-names = "hdmi_dpll_clk_mux";
		clocks = <&sys_clkin1>, <&sys_clkin2>;
		reg = <0x0164>;
	};

	mlb_clk: clock-mlb@134 {
		#clock-cells = <0>;
		compatible = "ti,divider-clock";
		clock-output-names = "mlb_clk";
		clocks = <&mlb_clkin_ck>;
		ti,max-div = <64>;
		reg = <0x0134>;
		ti,index-power-of-two;
	};

	mlbp_clk: clock-mlbp@130 {
		#clock-cells = <0>;
		compatible = "ti,divider-clock";
		clock-output-names = "mlbp_clk";
		clocks = <&mlbp_clkin_ck>;
		ti,max-div = <64>;
		reg = <0x0130>;
		ti,index-power-of-two;
	};

	per_abe_x1_gfclk2_div: clock-per-abe-x1-gfclk2-div@138 {
		#clock-cells = <0>;
		compatible = "ti,divider-clock";
		clock-output-names = "per_abe_x1_gfclk2_div";
		clocks = <&dpll_abe_m2_ck>;
		ti,max-div = <64>;
		reg = <0x0138>;
		ti,index-power-of-two;
	};

	timer_sys_clk_div: clock-timer-sys-clk-div@144 {
		#clock-cells = <0>;
		compatible = "ti,divider-clock";
		clock-output-names = "timer_sys_clk_div";
		clocks = <&sys_clkin1>;
		reg = <0x0144>;
		ti,max-div = <2>;
	};

	video1_dpll_clk_mux: clock-video1-dpll-clk-mux@168 {
		#clock-cells = <0>;
		compatible = "ti,mux-clock";
		clock-output-names = "video1_dpll_clk_mux";
		clocks = <&sys_clkin1>, <&sys_clkin2>;
		reg = <0x0168>;
	};

	video2_dpll_clk_mux: clock-video2-dpll-clk-mux@16c {
		#clock-cells = <0>;
		compatible = "ti,mux-clock";
		clock-output-names = "video2_dpll_clk_mux";
		clocks = <&sys_clkin1>, <&sys_clkin2>;
		reg = <0x016c>;
	};

	wkupaon_iclk_mux: clock-wkupaon-iclk-mux@108 {
		#clock-cells = <0>;
		compatible = "ti,mux-clock";
		clock-output-names = "wkupaon_iclk_mux";
		clocks = <&sys_clkin1>, <&abe_lp_clk_div>;
		reg = <0x0108>;
	};
};

&cm_core_clocks {
	dpll_pcie_ref_ck: clock@200 {
		#clock-cells = <0>;
		compatible = "ti,omap4-dpll-clock";
		clock-output-names = "dpll_pcie_ref_ck";
		clocks = <&sys_clkin1>, <&sys_clkin1>;
		reg = <0x0200>, <0x0204>, <0x020c>, <0x0208>;
	};

	dpll_pcie_ref_m2ldo_ck: clock-dpll-pcie-ref-m2ldo-8@210 {
		#clock-cells = <0>;
		compatible = "ti,divider-clock";
		clock-output-names = "dpll_pcie_ref_m2ldo_ck";
		clocks = <&dpll_pcie_ref_ck>;
		ti,max-div = <31>;
		ti,autoidle-shift = <8>;
		reg = <0x0210>;
		ti,index-starts-at-one;
		ti,invert-autoidle-bit;
	};

	apll_pcie_in_clk_mux: clock-apll-pcie-in-clk-mux-7@4ae06118 {
		compatible = "ti,mux-clock";
		clock-output-names = "apll_pcie_in_clk_mux";
		clocks = <&dpll_pcie_ref_m2ldo_ck>, <&pciesref_acs_clk_ck>;
		#clock-cells = <0>;
		reg = <0x021c 0x4>;
		ti,bit-shift = <7>;
	};

	apll_pcie_ck: clock@21c {
		#clock-cells = <0>;
		compatible = "ti,dra7-apll-clock";
		clock-output-names = "apll_pcie_ck";
		clocks = <&apll_pcie_in_clk_mux>, <&dpll_pcie_ref_ck>;
		reg = <0x021c>, <0x0220>;
	};

	optfclk_pciephy_div: clock-optfclk-pciephy-div-8@4a00821c {
		compatible = "ti,divider-clock";
		clock-output-names = "optfclk_pciephy_div";
		clocks = <&apll_pcie_ck>;
		#clock-cells = <0>;
		reg = <0x021c>;
		ti,dividers = <2>, <1>;
		ti,bit-shift = <8>;
		ti,max-div = <2>;
	};

	apll_pcie_clkvcoldo: clock-apll-pcie-clkvcoldo {
		#clock-cells = <0>;
		compatible = "fixed-factor-clock";
		clock-output-names = "apll_pcie_clkvcoldo";
		clocks = <&apll_pcie_ck>;
		clock-mult = <1>;
		clock-div = <1>;
	};

	apll_pcie_clkvcoldo_div: clock-apll-pcie-clkvcoldo-div {
		#clock-cells = <0>;
		compatible = "fixed-factor-clock";
		clock-output-names = "apll_pcie_clkvcoldo_div";
		clocks = <&apll_pcie_ck>;
		clock-mult = <1>;
		clock-div = <1>;
	};

	apll_pcie_m2_ck: clock-apll-pcie-m2 {
		#clock-cells = <0>;
		compatible = "fixed-factor-clock";
		clock-output-names = "apll_pcie_m2_ck";
		clocks = <&apll_pcie_ck>;
		clock-mult = <1>;
		clock-div = <1>;
	};

	dpll_per_byp_mux: clock-dpll-per-byp-mux-23@14c {
		#clock-cells = <0>;
		compatible = "ti,mux-clock";
		clock-output-names = "dpll_per_byp_mux";
		clocks = <&sys_clkin1>, <&per_dpll_hs_clk_div>;
		ti,bit-shift = <23>;
		reg = <0x014c>;
	};

	dpll_per_ck: clock@140 {
		#clock-cells = <0>;
		compatible = "ti,omap4-dpll-clock";
		clock-output-names = "dpll_per_ck";
		clocks = <&sys_clkin1>, <&dpll_per_byp_mux>;
		reg = <0x0140>, <0x0144>, <0x014c>, <0x0148>;
	};

	dpll_per_m2_ck: clock-dpll-per-m2-8@150 {
		#clock-cells = <0>;
		compatible = "ti,divider-clock";
		clock-output-names = "dpll_per_m2_ck";
		clocks = <&dpll_per_ck>;
		ti,max-div = <31>;
		ti,autoidle-shift = <8>;
		reg = <0x0150>;
		ti,index-starts-at-one;
		ti,invert-autoidle-bit;
	};

	func_96m_aon_dclk_div: clock-func-96m-aon-dclk-div {
		#clock-cells = <0>;
		compatible = "fixed-factor-clock";
		clock-output-names = "func_96m_aon_dclk_div";
		clocks = <&dpll_per_m2_ck>;
		clock-mult = <1>;
		clock-div = <1>;
	};

	dpll_usb_byp_mux: clock-dpll-usb-byp-mux-23@18c {
		#clock-cells = <0>;
		compatible = "ti,mux-clock";
		clock-output-names = "dpll_usb_byp_mux";
		clocks = <&sys_clkin1>, <&usb_dpll_hs_clk_div>;
		ti,bit-shift = <23>;
		reg = <0x018c>;
	};

	dpll_usb_ck: clock@180 {
		#clock-cells = <0>;
		compatible = "ti,omap4-dpll-j-type-clock";
		clock-output-names = "dpll_usb_ck";
		clocks = <&sys_clkin1>, <&dpll_usb_byp_mux>;
		reg = <0x0180>, <0x0184>, <0x018c>, <0x0188>;
	};

	dpll_usb_m2_ck: clock-dpll-usb-m2-8@190 {
		#clock-cells = <0>;
		compatible = "ti,divider-clock";
		clock-output-names = "dpll_usb_m2_ck";
		clocks = <&dpll_usb_ck>;
		ti,max-div = <127>;
		ti,autoidle-shift = <8>;
		reg = <0x0190>;
		ti,index-starts-at-one;
		ti,invert-autoidle-bit;
	};

	dpll_pcie_ref_m2_ck: clock-dpll-pcie-ref-m2-8@210 {
		#clock-cells = <0>;
		compatible = "ti,divider-clock";
		clock-output-names = "dpll_pcie_ref_m2_ck";
		clocks = <&dpll_pcie_ref_ck>;
		ti,max-div = <127>;
		ti,autoidle-shift = <8>;
		reg = <0x0210>;
		ti,index-starts-at-one;
		ti,invert-autoidle-bit;
	};

	dpll_per_x2_ck: clock-dpll-per-x2 {
		#clock-cells = <0>;
		compatible = "ti,omap4-dpll-x2-clock";
		clock-output-names = "dpll_per_x2_ck";
		clocks = <&dpll_per_ck>;
	};

	dpll_per_h11x2_ck: clock-dpll-per-h11x2-8@158 {
		#clock-cells = <0>;
		compatible = "ti,divider-clock";
		clock-output-names = "dpll_per_h11x2_ck";
		clocks = <&dpll_per_x2_ck>;
		ti,max-div = <63>;
		ti,autoidle-shift = <8>;
		reg = <0x0158>;
		ti,index-starts-at-one;
		ti,invert-autoidle-bit;
	};

	dpll_per_h12x2_ck: clock-dpll-per-h12x2-8@15c {
		#clock-cells = <0>;
		compatible = "ti,divider-clock";
		clock-output-names = "dpll_per_h12x2_ck";
		clocks = <&dpll_per_x2_ck>;
		ti,max-div = <63>;
		ti,autoidle-shift = <8>;
		reg = <0x015c>;
		ti,index-starts-at-one;
		ti,invert-autoidle-bit;
	};

	dpll_per_h13x2_ck: clock-dpll-per-h13x2-8@160 {
		#clock-cells = <0>;
		compatible = "ti,divider-clock";
		clock-output-names = "dpll_per_h13x2_ck";
		clocks = <&dpll_per_x2_ck>;
		ti,max-div = <63>;
		ti,autoidle-shift = <8>;
		reg = <0x0160>;
		ti,index-starts-at-one;
		ti,invert-autoidle-bit;
	};

	dpll_per_h14x2_ck: clock-dpll-per-h14x2-8@164 {
		#clock-cells = <0>;
		compatible = "ti,divider-clock";
		clock-output-names = "dpll_per_h14x2_ck";
		clocks = <&dpll_per_x2_ck>;
		ti,max-div = <63>;
		ti,autoidle-shift = <8>;
		reg = <0x0164>;
		ti,index-starts-at-one;
		ti,invert-autoidle-bit;
	};

	dpll_per_m2x2_ck: clock-dpll-per-m2x2-8@150 {
		#clock-cells = <0>;
		compatible = "ti,divider-clock";
		clock-output-names = "dpll_per_m2x2_ck";
		clocks = <&dpll_per_x2_ck>;
		ti,max-div = <31>;
		ti,autoidle-shift = <8>;
		reg = <0x0150>;
		ti,index-starts-at-one;
		ti,invert-autoidle-bit;
	};

	dpll_usb_clkdcoldo: clock-dpll-usb-clkdcoldo {
		#clock-cells = <0>;
		compatible = "fixed-factor-clock";
		clock-output-names = "dpll_usb_clkdcoldo";
		clocks = <&dpll_usb_ck>;
		clock-mult = <1>;
		clock-div = <1>;
	};

	func_128m_clk: clock-func-128m {
		#clock-cells = <0>;
		compatible = "fixed-factor-clock";
		clock-output-names = "func_128m_clk";
		clocks = <&dpll_per_h11x2_ck>;
		clock-mult = <1>;
		clock-div = <2>;
	};

	func_12m_fclk: clock-func-12m-fclk {
		#clock-cells = <0>;
		compatible = "fixed-factor-clock";
		clock-output-names = "func_12m_fclk";
		clocks = <&dpll_per_m2x2_ck>;
		clock-mult = <1>;
		clock-div = <16>;
	};

	func_24m_clk: clock-func-24m {
		#clock-cells = <0>;
		compatible = "fixed-factor-clock";
		clock-output-names = "func_24m_clk";
		clocks = <&dpll_per_m2_ck>;
		clock-mult = <1>;
		clock-div = <4>;
	};

	func_48m_fclk: clock-func-48m-fclk {
		#clock-cells = <0>;
		compatible = "fixed-factor-clock";
		clock-output-names = "func_48m_fclk";
		clocks = <&dpll_per_m2x2_ck>;
		clock-mult = <1>;
		clock-div = <4>;
	};

	func_96m_fclk: clock-func-96m-fclk {
		#clock-cells = <0>;
		compatible = "fixed-factor-clock";
		clock-output-names = "func_96m_fclk";
		clocks = <&dpll_per_m2x2_ck>;
		clock-mult = <1>;
		clock-div = <2>;
	};

	l3init_60m_fclk: clock-l3init-60m@104 {
		#clock-cells = <0>;
		compatible = "ti,divider-clock";
		clock-output-names = "l3init_60m_fclk";
		clocks = <&dpll_usb_m2_ck>;
		reg = <0x0104>;
		ti,dividers = <1>, <8>;
	};

	clkout2_clk: clock-clkout2-8@6b0 {
		#clock-cells = <0>;
		compatible = "ti,gate-clock";
		clock-output-names = "clkout2_clk";
		clocks = <&clkoutmux2_clk_mux>;
		ti,bit-shift = <8>;
		reg = <0x06b0>;
	};

	l3init_960m_gfclk: clock-l3init-960m-gfclk-8@6c0 {
		#clock-cells = <0>;
		compatible = "ti,gate-clock";
		clock-output-names = "l3init_960m_gfclk";
		clocks = <&dpll_usb_clkdcoldo>;
		ti,bit-shift = <8>;
		reg = <0x06c0>;
	};

	usb_phy1_always_on_clk32k: clock-usb-phy1-always-on-clk32k-8@640 {
		#clock-cells = <0>;
		compatible = "ti,gate-clock";
		clock-output-names = "usb_phy1_always_on_clk32k";
		clocks = <&sys_32k_ck>;
		ti,bit-shift = <8>;
		reg = <0x0640>;
	};

	usb_phy2_always_on_clk32k: clock-usb-phy2-always-on-clk32k-8@688 {
		#clock-cells = <0>;
		compatible = "ti,gate-clock";
		clock-output-names = "usb_phy2_always_on_clk32k";
		clocks = <&sys_32k_ck>;
		ti,bit-shift = <8>;
		reg = <0x0688>;
	};

	usb_phy3_always_on_clk32k: clock-usb-phy3-always-on-clk32k-8@698 {
		#clock-cells = <0>;
		compatible = "ti,gate-clock";
		clock-output-names = "usb_phy3_always_on_clk32k";
		clocks = <&sys_32k_ck>;
		ti,bit-shift = <8>;
		reg = <0x0698>;
	};

	gpu_core_gclk_mux: clock-gpu-core-gclk-mux-24@1220 {
		#clock-cells = <0>;
		compatible = "ti,mux-clock";
		clock-output-names = "gpu_core_gclk_mux";
		clocks = <&dpll_core_h14x2_ck>, <&dpll_per_h14x2_ck>, <&dpll_gpu_m2_ck>;
		ti,bit-shift = <24>;
		reg = <0x1220>;
		assigned-clocks = <&gpu_core_gclk_mux>;
		assigned-clock-parents = <&dpll_gpu_m2_ck>;
	};

	gpu_hyd_gclk_mux: clock-gpu-hyd-gclk-mux-26@1220 {
		#clock-cells = <0>;
		compatible = "ti,mux-clock";
		clock-output-names = "gpu_hyd_gclk_mux";
		clocks = <&dpll_core_h14x2_ck>, <&dpll_per_h14x2_ck>, <&dpll_gpu_m2_ck>;
		ti,bit-shift = <26>;
		reg = <0x1220>;
		assigned-clocks = <&gpu_hyd_gclk_mux>;
		assigned-clock-parents = <&dpll_gpu_m2_ck>;
	};

	l3instr_ts_gclk_div: clock-l3instr-ts-gclk-div-24@e50 {
		#clock-cells = <0>;
		compatible = "ti,divider-clock";
		clock-output-names = "l3instr_ts_gclk_div";
		clocks = <&wkupaon_iclk_mux>;
		ti,bit-shift = <24>;
		reg = <0x0e50>;
		ti,dividers = <8>, <16>, <32>;
	};

	vip1_gclk_mux: clock-vip1-gclk-mux-24@1020 {
		#clock-cells = <0>;
		compatible = "ti,mux-clock";
		clock-output-names = "vip1_gclk_mux";
		clocks = <&l3_iclk_div>, <&dpll_core_h23x2_ck>;
		ti,bit-shift = <24>;
		reg = <0x1020>;
	};

	vip2_gclk_mux: clock-vip2-gclk-mux-24@1028 {
		#clock-cells = <0>;
		compatible = "ti,mux-clock";
		clock-output-names = "vip2_gclk_mux";
		clocks = <&l3_iclk_div>, <&dpll_core_h23x2_ck>;
		ti,bit-shift = <24>;
		reg = <0x1028>;
	};

	vip3_gclk_mux: clock-vip3-gclk-mux-24@1030 {
		#clock-cells = <0>;
		compatible = "ti,mux-clock";
		clock-output-names = "vip3_gclk_mux";
		clocks = <&l3_iclk_div>, <&dpll_core_h23x2_ck>;
		ti,bit-shift = <24>;
		reg = <0x1030>;
	};
};

&cm_core_clockdomains {
	coreaon_clkdm: clock-coreaon-clkdm {
		compatible = "ti,clockdomain";
		clock-output-names = "coreaon_clkdm";
		clocks = <&dpll_usb_ck>;
	};
};

&scm_conf_clocks {
	dss_deshdcp_clk: clock-dss-deshdcp-0@558 {
		#clock-cells = <0>;
		compatible = "ti,gate-clock";
		clock-output-names = "dss_deshdcp_clk";
		clocks = <&l3_iclk_div>;
		ti,bit-shift = <0>;
		reg = <0x558>;
	};

       ehrpwm0_tbclk: clock-ehrpwm0-tbclk-20@558 {
		#clock-cells = <0>;
		compatible = "ti,gate-clock";
		clock-output-names = "ehrpwm0_tbclk";
		clocks = <&l4_root_clk_div>;
		ti,bit-shift = <20>;
		reg = <0x0558>;
	};

	ehrpwm1_tbclk: clock-ehrpwm1-tbclk-21@558 {
		#clock-cells = <0>;
		compatible = "ti,gate-clock";
		clock-output-names = "ehrpwm1_tbclk";
		clocks = <&l4_root_clk_div>;
		ti,bit-shift = <21>;
		reg = <0x0558>;
	};

	ehrpwm2_tbclk: clock-ehrpwm2-tbclk-22@558 {
		#clock-cells = <0>;
		compatible = "ti,gate-clock";
		clock-output-names = "ehrpwm2_tbclk";
		clocks = <&l4_root_clk_div>;
		ti,bit-shift = <22>;
		reg = <0x0558>;
	};

	sys_32k_ck: clock-sys-32k@6c4 {
		#clock-cells = <0>;
		compatible = "ti,mux-clock";
		clock-output-names = "sys_32k_ck";
		clocks = <&sys_clk32_crystal_ck>, <&sys_clk32_pseudo_ck>, <&sys_clk32_pseudo_ck>, <&sys_clk32_pseudo_ck>;
		ti,bit-shift = <8>;
		reg = <0x6c4>;
	};
};

&cm_core_aon {
	mpu_cm: clock@300 {
		compatible = "ti,omap4-cm";
		clock-output-names = "mpu_cm";
		reg = <0x300 0x100>;
		#address-cells = <1>;
		#size-cells = <1>;
		ranges = <0 0x300 0x100>;

		mpu_clkctrl: clock@20 {
			compatible = "ti,clkctrl";
			clock-output-names = "mpu_clkctrl";
			reg = <0x20 0x4>;
			#clock-cells = <2>;
		};

	};

	dsp1_cm: clock@400 {
		compatible = "ti,omap4-cm";
		clock-output-names = "dsp1_cm";
		reg = <0x400 0x100>;
		#address-cells = <1>;
		#size-cells = <1>;
		ranges = <0 0x400 0x100>;

		dsp1_clkctrl: clock@20 {
			compatible = "ti,clkctrl";
			clock-output-names = "dsp1_clkctrl";
			reg = <0x20 0x4>;
			#clock-cells = <2>;
		};

	};

	ipu_cm: clock@500 {
		compatible = "ti,omap4-cm";
		clock-output-names = "ipu_cm";
		reg = <0x500 0x100>;
		#address-cells = <1>;
		#size-cells = <1>;
		ranges = <0 0x500 0x100>;

		ipu1_clkctrl: clock@20 {
			compatible = "ti,clkctrl";
			clock-output-names = "ipu1_clkctrl";
			reg = <0x20 0x4>;
			#clock-cells = <2>;
			assigned-clocks = <&ipu1_clkctrl DRA7_IPU1_MMU_IPU1_CLKCTRL 24>;
			assigned-clock-parents = <&dpll_core_h22x2_ck>;
		};

		ipu_clkctrl: clock@50 {
			compatible = "ti,clkctrl";
			clock-output-names = "ipu_clkctrl";
			reg = <0x50 0x34>;
			#clock-cells = <2>;
		};

	};

	dsp2_cm: clock@600 {
		compatible = "ti,omap4-cm";
		clock-output-names = "dsp2_cm";
		reg = <0x600 0x100>;
		#address-cells = <1>;
		#size-cells = <1>;
		ranges = <0 0x600 0x100>;

		dsp2_clkctrl: clock@20 {
			compatible = "ti,clkctrl";
			clock-output-names = "dsp2_clkctrl";
			reg = <0x20 0x4>;
			#clock-cells = <2>;
		};

	};

	rtc_cm: clock@700 {
		compatible = "ti,omap4-cm";
		clock-output-names = "rtc_cm";
		reg = <0x700 0x60>;
		#address-cells = <1>;
		#size-cells = <1>;
		ranges = <0 0x700 0x60>;

		rtc_clkctrl: clock@20 {
			compatible = "ti,clkctrl";
			clock-output-names = "rtc_clkctrl";
			reg = <0x20 0x28>;
			#clock-cells = <2>;
		};
	};

	vpe_cm: clock@760 {
		compatible = "ti,omap4-cm";
		clock-output-names = "vpe_cm";
		reg = <0x760 0xc>;
		#address-cells = <1>;
		#size-cells = <1>;
		ranges = <0 0x760 0xc>;

		vpe_clkctrl: clock@0 {
			compatible = "ti,clkctrl";
			clock-output-names = "vpe_clkctrl";
			reg = <0x0 0xc>;
			#clock-cells = <2>;
		};
	};

};

&cm_core {
	coreaon_cm: clock@600 {
		compatible = "ti,omap4-cm";
		clock-output-names = "coreaon_cm";
		reg = <0x600 0x100>;
		#address-cells = <1>;
		#size-cells = <1>;
		ranges = <0 0x600 0x100>;

		coreaon_clkctrl: clock@20 {
			compatible = "ti,clkctrl";
			clock-output-names = "coreaon_clkctrl";
			reg = <0x20 0x1c>;
			#clock-cells = <2>;
		};
	};

	l3main1_cm: clock@700 {
		compatible = "ti,omap4-cm";
		clock-output-names = "l3main1_cm";
		reg = <0x700 0x100>;
		#address-cells = <1>;
		#size-cells = <1>;
		ranges = <0 0x700 0x100>;

		l3main1_clkctrl: clock@20 {
			compatible = "ti,clkctrl";
			clock-output-names = "l3main1_clkctrl";
			reg = <0x20 0x74>;
			#clock-cells = <2>;
		};

	};

	ipu2_cm: clock@900 {
		compatible = "ti,omap4-cm";
		clock-output-names = "ipu2_cm";
		reg = <0x900 0x100>;
		#address-cells = <1>;
		#size-cells = <1>;
		ranges = <0 0x900 0x100>;

		ipu2_clkctrl: clock@20 {
			compatible = "ti,clkctrl";
			clock-output-names = "ipu2_clkctrl";
			reg = <0x20 0x4>;
			#clock-cells = <2>;
		};

	};

	dma_cm: clock@a00 {
		compatible = "ti,omap4-cm";
		clock-output-names = "dma_cm";
		reg = <0xa00 0x100>;
		#address-cells = <1>;
		#size-cells = <1>;
		ranges = <0 0xa00 0x100>;

		dma_clkctrl: clock@20 {
			compatible = "ti,clkctrl";
			clock-output-names = "dma_clkctrl";
			reg = <0x20 0x4>;
			#clock-cells = <2>;
		};
	};

	emif_cm: clock@b00 {
		compatible = "ti,omap4-cm";
		clock-output-names = "emif_cm";
		reg = <0xb00 0x100>;
		#address-cells = <1>;
		#size-cells = <1>;
		ranges = <0 0xb00 0x100>;

		emif_clkctrl: clock@20 {
			compatible = "ti,clkctrl";
			clock-output-names = "emif_clkctrl";
			reg = <0x20 0x4>;
			#clock-cells = <2>;
		};
	};

	atl_cm: clock@c00 {
		compatible = "ti,omap4-cm";
		clock-output-names = "atl_cm";
		reg = <0xc00 0x100>;
		#address-cells = <1>;
		#size-cells = <1>;
		ranges = <0 0xc00 0x100>;

		atl_clkctrl: clock@0 {
			compatible = "ti,clkctrl";
			clock-output-names = "atl_clkctrl";
			reg = <0x0 0x4>;
			#clock-cells = <2>;
		};
	};

	l4cfg_cm: clock@d00 {
		compatible = "ti,omap4-cm";
		clock-output-names = "l4cfg_cm";
		reg = <0xd00 0x100>;
		#address-cells = <1>;
		#size-cells = <1>;
		ranges = <0 0xd00 0x100>;

		l4cfg_clkctrl: clock@20 {
			compatible = "ti,clkctrl";
			clock-output-names = "l4cfg_clkctrl";
			reg = <0x20 0x84>;
			#clock-cells = <2>;
		};
	};

	l3instr_cm: clock@e00 {
		compatible = "ti,omap4-cm";
		clock-output-names = "l3instr_cm";
		reg = <0xe00 0x100>;
		#address-cells = <1>;
		#size-cells = <1>;
		ranges = <0 0xe00 0x100>;

		l3instr_clkctrl: clock@20 {
			compatible = "ti,clkctrl";
			clock-output-names = "l3instr_clkctrl";
			reg = <0x20 0xc>;
			#clock-cells = <2>;
		};
	};

	iva_cm: clock@f00 {
		compatible = "ti,omap4-cm";
		clock-output-names = "iva_cm";
		reg = <0xf00 0x100>;
		#address-cells = <1>;
		#size-cells = <1>;
		ranges = <0 0xf00 0x100>;

		iva_clkctrl: clock@20 {
			compatible = "ti,clkctrl";
			clock-output-names = "iva_clkctrl";
			reg = <0x20 0xc>;
			#clock-cells = <2>;
		};
	};

	cam_cm: clock@1000 {
		compatible = "ti,omap4-cm";
		clock-output-names = "cam_cm";
		reg = <0x1000 0x100>;
		#address-cells = <1>;
		#size-cells = <1>;
		ranges = <0 0x1000 0x100>;

		cam_clkctrl: clock@20 {
			compatible = "ti,clkctrl";
			clock-output-names = "cam_clkctrl";
			reg = <0x20 0x2c>;
			#clock-cells = <2>;
		};
	};

	dss_cm: clock@1100 {
		compatible = "ti,omap4-cm";
		clock-output-names = "dss_cm";
		reg = <0x1100 0x100>;
		#address-cells = <1>;
		#size-cells = <1>;
		ranges = <0 0x1100 0x100>;

		dss_clkctrl: clock@20 {
			compatible = "ti,clkctrl";
			clock-output-names = "dss_clkctrl";
			reg = <0x20 0x14>;
			#clock-cells = <2>;
		};
	};

	gpu_cm: clock@1200 {
		compatible = "ti,omap4-cm";
		clock-output-names = "gpu_cm";
		reg = <0x1200 0x100>;
		#address-cells = <1>;
		#size-cells = <1>;
		ranges = <0 0x1200 0x100>;

		gpu_clkctrl: clock@20 {
			compatible = "ti,clkctrl";
			clock-output-names = "gpu_clkctrl";
			reg = <0x20 0x4>;
			#clock-cells = <2>;
		};
	};

	l3init_cm: clock@1300 {
		compatible = "ti,omap4-cm";
		clock-output-names = "l3init_cm";
		reg = <0x1300 0x100>;
		#address-cells = <1>;
		#size-cells = <1>;
		ranges = <0 0x1300 0x100>;

		l3init_clkctrl: clock@20 {
			compatible = "ti,clkctrl";
			clock-output-names = "l3init_clkctrl";
			reg = <0x20 0x6c>, <0xe0 0x14>;
			#clock-cells = <2>;
		};

		pcie_clkctrl: clock@b0 {
			compatible = "ti,clkctrl";
			clock-output-names = "pcie_clkctrl";
			reg = <0xb0 0xc>;
			#clock-cells = <2>;
		};

		gmac_clkctrl: clock@d0 {
			compatible = "ti,clkctrl";
			clock-output-names = "gmac_clkctrl";
			reg = <0xd0 0x4>;
			#clock-cells = <2>;
		};

	};

	l4per_cm: clock@1700 {
		compatible = "ti,omap4-cm";
		clock-output-names = "l4per_cm";
		reg = <0x1700 0x300>;
		#address-cells = <1>;
		#size-cells = <1>;
		ranges = <0 0x1700 0x300>;

		l4per_clkctrl: clock@28 {
			compatible = "ti,clkctrl";
			clock-output-names = "l4per_clkctrl";
			reg = <0x28 0x64>, <0xa0 0x24>, <0xf0 0x3c>, <0x140 0x1c>, <0x170 0x4>;
			#clock-cells = <2>;

			assigned-clocks = <&l4per2_clkctrl DRA7_L4PER2_MCASP3_CLKCTRL 24>;
			assigned-clock-parents = <&abe_24m_fclk>;
		};

		l4sec_clkctrl: clock@1a0 {
			compatible = "ti,clkctrl";
			clock-output-names = "l4sec_clkctrl";
			reg = <0x1a0 0x2c>;
			#clock-cells = <2>;
		};

		l4per2_clkctrl: clock@c {
			compatible = "ti,clkctrl";
			clock-output-names = "l4per2_clkctrl";
			reg = <0xc 0x4>, <0x18 0xc>, <0x90 0xc>, <0xc4 0x4>, <0x138 0x4>, <0x160 0xc>, <0x178 0x24>, <0x1d0 0x3c>;
			#clock-cells = <2>;
		};

		l4per3_clkctrl: clock@14 {
			compatible = "ti,clkctrl";
			clock-output-names = "l4per3_clkctrl";
			reg = <0x14 0x4>, <0xc8 0x14>, <0x130 0x4>;
			#clock-cells = <2>;
		};
	};

};

&prm {
	wkupaon_cm: clock@1800 {
		compatible = "ti,omap4-cm";
		clock-output-names = "wkupaon_cm";
		reg = <0x1800 0x100>;
		#address-cells = <1>;
		#size-cells = <1>;
		ranges = <0 0x1800 0x100>;

		wkupaon_clkctrl: clock@20 {
			compatible = "ti,clkctrl";
			clock-output-names = "wkupaon_clkctrl";
			reg = <0x20 0x6c>;
			#clock-cells = <2>;
		};
	};
};
